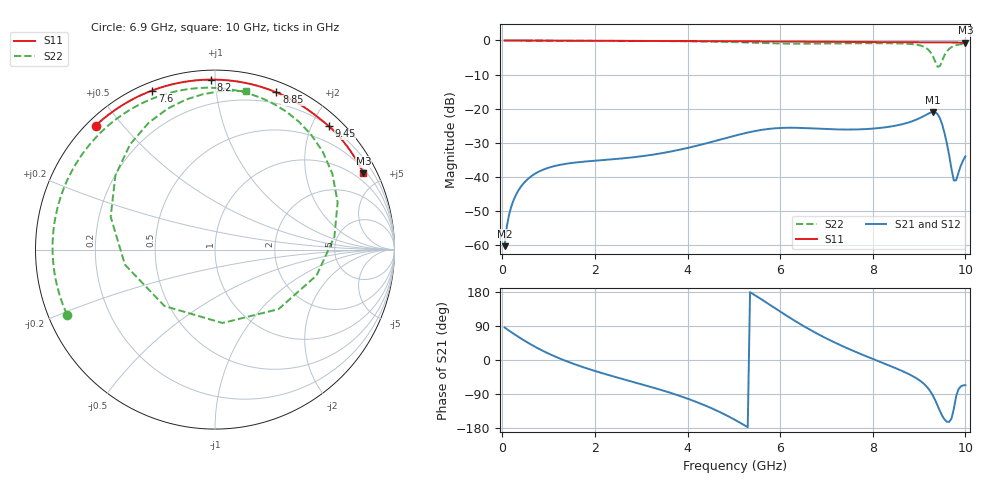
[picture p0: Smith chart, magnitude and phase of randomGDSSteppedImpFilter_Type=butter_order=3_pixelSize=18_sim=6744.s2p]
! freq	dB(S11)	phase(S11)	dB(S12)	phase(S12)
!  dB(S21)	phase(S21)	dB(S22)	phase(S22)
!S-par simulation data
#  GHz  S  DB  R 50
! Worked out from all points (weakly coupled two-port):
!   200 points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, 50 MHz to 10 GHz, reference 50 ohm
!   highest |S21| = -20.93 dB at 9.3 GHz (marker M1); lowest = -60.3 dB at 50 MHz (marker M2)
!   lowest |S11| = -0.6 dB at 10 GHz (marker M3), VSWR 27.44, Z = 32.4 + j202 ohm
!   |S11| at or under -10 dB: nowhere
!   |S22| runs from -7.7 to 0.0 dB; largest |S21 - S12| = 0
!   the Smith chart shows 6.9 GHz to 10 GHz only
!   S11 on the Smith chart (normalised r, x): 6.9 GHz: 0.02, +0.43; 7.6 GHz: 0.04, +0.68; 8.2 GHz: 0.05, +0.97; 8.85 GHz: 0.10, +1.46; 9.45 GHz: 0.21, +2.27; 10 GHz: 0.65, +4.05
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0.05  -0.00 -2.0  -60.29 85.8  -60.29 85.8  -0.00 -6.6
0.25  -0.01 -10.1  -46.60 68.9  -46.60 68.9  -0.04 -32.0
0.7  -0.04 -27.9  -39.11 35.4  -39.11 35.4  -0.09 -81.8
1.75  -0.08 -67.7  -35.54 -19.1  -35.54 -19.1  -0.11 -155.4
2.55  -0.11 -95.5  -34.63 -48.5  -34.63 -48.5  -0.13 167.3
3.4  -0.15 -122.7  -33.14 -77.9  -33.14 -77.9  -0.17 130.3
4.35  -0.19 -151.1  -30.35 -118.5  -30.35 -118.5  -0.29 80.7
5.05  -0.24 -171.4  -27.82 -159.7  -27.82 -159.7  -0.51 28.8
5.5  -0.27 175.6  -26.44 167.6  -26.44 167.6  -0.72 -15.0
6  -0.30 161.0  -25.65 127.9  -25.65 127.9  -0.91 -69.9
6.7  -0.35 140.1  -25.78 76.1  -25.78 76.1  -0.93 -139.6
6.9  -0.37 133.9  -25.91 63.0  -25.91 63.0  -0.91 -156.3
7.6  -0.42 111.6  -26.09 23.0  -26.09 23.0  -0.82 154.6
8.2  -0.47 91.4  -25.58 -7.0  -25.58 -7.0  -0.81 118.2
8.35  -0.48 86.2  -25.30 -14.3  -25.30 -14.3  -0.82 109.0
8.85  -0.53 68.7  -23.69 -41.8  -23.69 -41.8  -1.08 72.8
9.1  -0.57 59.7  -22.17 -62.5  -22.17 -62.5  -1.82 42.2
9.3  -0.59 52.7  -20.93 -94.3  -20.93 -94.3  -4.67 -14.3
9.45  -0.58 47.3  -22.81 -134.6  -22.81 -134.6  -7.49 -131.8
9.55  -0.57 43.6  -27.17 -157.0  -27.17 -157.0  -4.30 162.5
9.75  -0.60 36.2  -41.04 -129.0  -41.04 -129.0  -1.63 108.6
10  -0.63 27.1  -33.97 -66.4  -33.97 -66.4  -0.93 79.0
